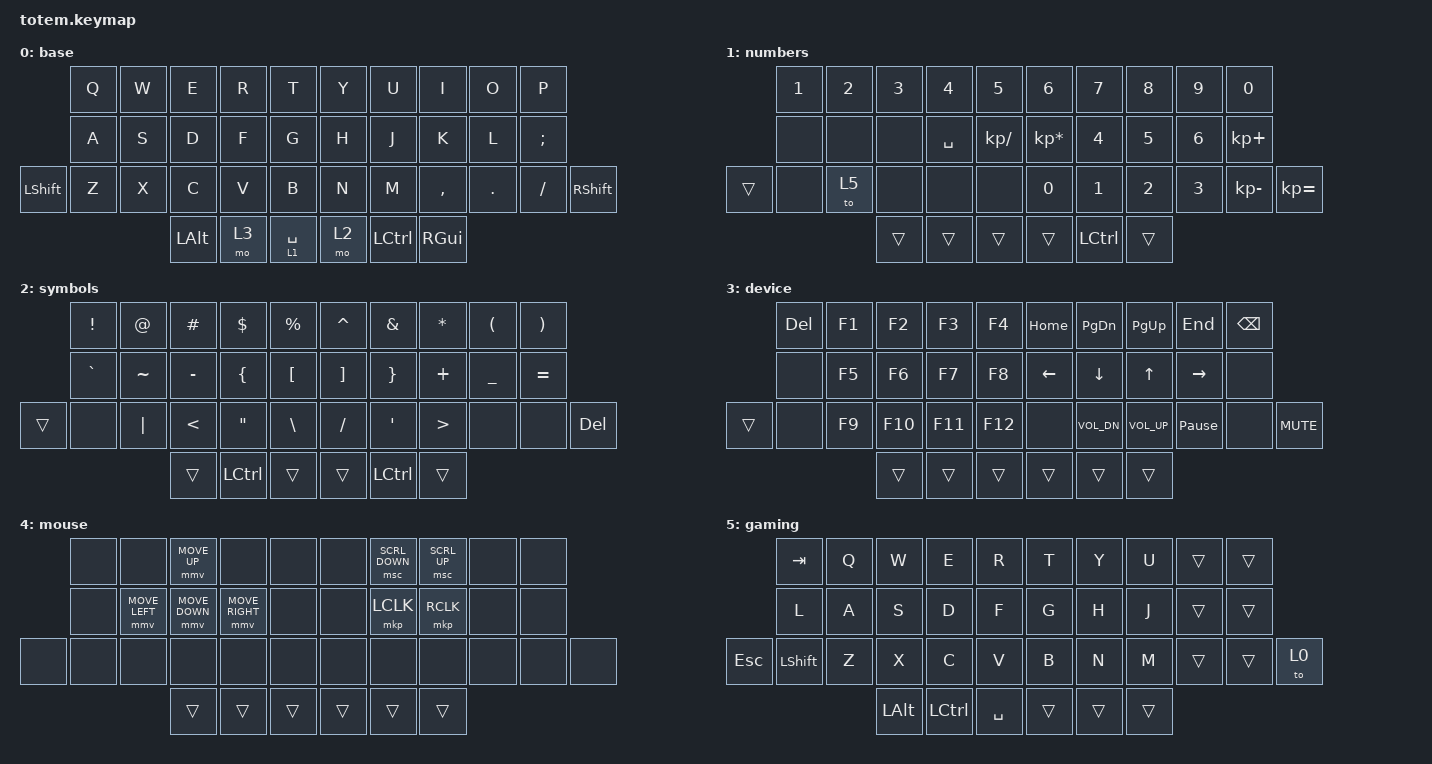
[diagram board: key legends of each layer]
//
//                                                        ▀▀▀▀▀     ▀▀▀▀▀          ▀▀█▀▀
//                                                        ▄▀▀▀▄  ▄  ▄▀▀▀▄  ▄  ▄▀▀▀▄  █  ▄▀▀▀▄
//                                                        █   █  █  █   █  █  █   █  █  █   █
//                                                         ▀▀▀   █   ▀▀▀   █   ▀▀▀   ▀   ▀▀▀
//                                                               █      ▄▄▄█▄▄▄    █   █  
//                                                               ▀      █  █  █     █▄█
//                                                             ▀▀▀▀▀    █  █  █      ▀
//                                                                      ▀  ▀  ▀
//
// ▄▄▄▄▄▄▄▄▄▄▄▄▄▄▄▄▄▄▄▄▄▄▄▄▄▄▄▄▄▄▄▄▄▄▄▄▄▄▄▄▄▄▄▄▄▄▄▄▄▄▄▄▄▄▄▄▄▄▄▄▄▄▄▄▄▄▄▄▄▄▄▄▄▄▄▄▄▄▄▄▄▄▄▄▄▄▄▄▄▄▄▄▄▄▄▄▄▄▄▄▄▄▄▄▄▄▄▄▄▄▄▄▄▄▄▄▄▄▄▄▄▄▄▄▄▄▄▄▄▄▄▄▄▄▄▄▄▄▄▄▄▄▄▄▄▄▄▄▄

#define ZMK_POINTING_DEFAULT_MOVE_VAL 1500  // default: 600
#define ZMK_POINTING_DEFAULT_SCRL_VAL 20    // default: 10

#include <behaviors.dtsi>
#include <dt-bindings/zmk/keys.h>
#include <dt-bindings/zmk/pointing.h>

&mmv {
    time-to-max-speed-ms = <125>;
    acceleration-exponent = <2>;
};

/ {
    combos {
        compatible = "zmk,combos";

        ESC2 {
            bindings = <&kp ESC>;
            key-positions = <12 13>;
            layers = <0 1 2 3>;
        };

        TAB2 {
            bindings = <&kp TAB>;
            key-positions = <2 3>;
            layers = <0 1 2 3>;
        };

        ENTER2 {
            bindings = <&kp ENTER>;
            key-positions = <17 16>;
            layers = <0 1 2 3>;
        };

        BACKSPACE2 {
            bindings = <&kp BACKSPACE>;
            key-positions = <7 6>;
            layers = <0 1 2 3>;
        };

        LSHIFT2 {
            bindings = <&kp LEFT_SHIFT>;
            key-positions = <11 10>;
            layers = <0 2 1 3>;
        };

        RSHIFT2 {
            bindings = <&kp RIGHT_SHIFT>;
            key-positions = <18 19>;
            layers = <0 1 2 3>;
        };

        delete2 {
            bindings = <&kp DEL>;
            key-positions = <7 8>;
            layers = <0 1 2 3>;
        };
    };

    keymap {
        compatible = "zmk,keymap";

        base {
            bindings = <
                &kp Q  &kp W  &kp E         &kp R  &kp T          &kp Y  &kp U             &kp I      &kp O    &kp P
                &kp A  &kp S  &kp D         &kp F  &kp G          &kp H  &kp J             &kp K      &kp L    &kp SEMI
&kp LEFT_SHIFT  &kp Z  &kp X  &kp C         &kp V  &kp B          &kp N  &kp M             &kp COMMA  &kp DOT  &kp FSLH  &kp RIGHT_SHIFT
                              &kp LEFT_ALT  &mo 3  &lt 1 SPACE    &mo 2  &kp LEFT_CONTROL  &kp RGUI
            >;
        };

        numbers {
            bindings = <
        &kp N1  &kp N2  &kp N3  &kp N4     &kp N5           &kp N6           &kp N7            &kp N8  &kp N9        &kp N0
        &none   &none   &none   &kp SPACE  &kp KP_DIVIDE    &kp KP_MULTIPLY  &kp N4            &kp N5  &kp NUMBER_6  &kp KP_PLUS
&trans  &none   &to 5   &none   &none      &none            &kp N0           &kp N1            &kp N2  &kp N3        &kp KP_MINUS  &kp KP_EQUAL
                        &trans  &trans     &trans           &trans           &kp LEFT_CONTROL  &trans
            >;
        };

        symbols {
            bindings = <
        &kp EXCL   &kp AT     &kp HASH       &kp DOLLAR         &kp PERCENT         &kp CARET          &kp AMPERSAND     &kp ASTERISK      &kp LEFT_PARENTHESIS  &kp RIGHT_PARENTHESIS
        &kp GRAVE  &kp TILDE  &kp MINUS      &kp LEFT_BRACE     &kp LEFT_BRACKET    &kp RIGHT_BRACKET  &kp RIGHT_BRACE   &kp PLUS          &kp UNDER             &kp EQUAL
&trans  &none      &kp PIPE   &kp LESS_THAN  &kp DOUBLE_QUOTES  &kp BACKSLASH       &kp SLASH          &kp SINGLE_QUOTE  &kp GREATER_THAN  &none                 &none                  &kp DEL
                              &trans         &kp LEFT_CONTROL   &trans              &trans             &kp LEFT_CONTROL  &trans
            >;
        };

        device {
            bindings = <
        &kp DEL  &kp F1  &kp F2   &kp F3   &kp F4     &kp HOME        &kp PAGE_DOWN  &kp PAGE_UP      &kp END          &kp BACKSPACE
        &none    &kp F5  &kp F6   &kp F7   &kp F8     &kp LEFT_ARROW  &kp DOWN       &kp UP           &kp RIGHT        &none
&trans  &none    &kp F9  &kp F10  &kp F11  &kp F12    &none           &kp C_VOL_DN   &kp C_VOLUME_UP  &kp PAUSE_BREAK  &none          &kp K_MUTE
                         &trans   &trans   &trans     &trans          &trans         &trans
            >;
        };

        mouse {
            bindings = <
       &none  &none           &mmv MOVE_UP    &none            &none     &none   &msc SCRL_DOWN  &msc SCRL_UP  &none  &none
       &none  &mmv MOVE_LEFT  &mmv MOVE_DOWN  &mmv MOVE_RIGHT  &none     &none   &mkp LCLK       &mkp RCLK     &none  &none
&none  &none  &none           &none           &none            &none     &none   &none           &none         &none  &none  &none
                              &trans          &trans           &trans    &trans  &trans          &trans
            >;
        };

        gaming {
            bindings = <
         &kp TAB    &kp Q  &kp W     &kp E      &kp R        &kp T   &kp Y   &kp U   &trans  &trans
         &kp L      &kp A  &kp S     &kp D      &kp F        &kp G   &kp H   &kp J   &trans  &trans
&kp ESC  &kp LSHFT  &kp Z  &kp X     &kp C      &kp V        &kp B   &kp N   &kp M   &trans  &trans  &to 0
                           &kp LALT  &kp LCTRL  &kp SPACE    &trans  &trans  &trans
            >;
        };
    };

    conditional_layers {
        compatible = "zmk,conditional-layers";

        mouse {
            if-layers = <1 2>;
            then-layer = <4>;
        };
    };
};
